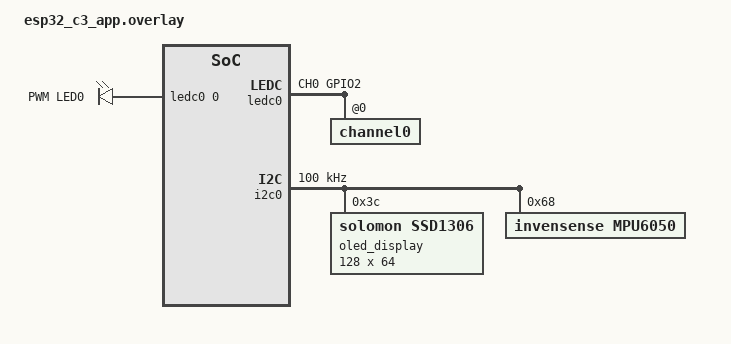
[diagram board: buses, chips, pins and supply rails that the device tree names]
#include <zephyr/dt-bindings/pwm/pwm.h>

&pinctrl {
    i2c0_custom: i2c0_custom {
        group1 {
            pinmux = <I2C0_SDA_GPIO8>,
                     <I2C0_SCL_GPIO9>;
            bias-pull-up;
            drive-open-drain;
            output-high;
        };
    };

	ledc0_default: ledc0-default {
		group1 {
			pinmux = <LEDC_CH0_GPIO2>;
			output-enable;
		};
	};
};

&ledc0 {
	pinctrl-0 = <&ledc0_default>;
	pinctrl-names = "default";
	status = "okay";
	#address-cells = <1>;
	#size-cells = <0>;

	channel0@0 {
		reg = <0x0>;
		timer = <0>;
	};
};

&i2c0 {
    status = "okay";
    pinctrl-0 = <&i2c0_custom>;
    pinctrl-names = "default";
    clock-frequency = <I2C_BITRATE_STANDARD>;

    oled_display: ssd1306@3c {
        compatible = "solomon,ssd1306";
        reg = <0x3c>;
        status = "okay";
        width = <128>;
        height = <64>;
        segment-offset = <0>;
        page-offset = <0>;
        display-offset = <0>;
        multiplex-ratio = <63>;
        segment-remap;
        com-invdir;
        prechargep = <0x22>;
        softreset-on;
        ready-time-ms = <100>;
    };

    mpu6050: mpu6050@68 {
        compatible = "invensense,mpu6050";
        reg = <0x68>;
        status = "okay";
        smplrt-div = <249>;
        /* optional if you use interrupt:
        int-gpios = <&gpio0 11 GPIO_ACTIVE_HIGH>;
        */
    };
};


/ {
    chosen {
        zephyr,display = &oled_display;
    };

    aliases {
		pwm-0 = &ledc0;
		pwm-led0 = &pwm_led_blue;
	};

	pwmleds {
		compatible = "pwm-leds";

		pwm_led_blue: pwm-led-gpio0-2 {
			label = "PWM LED0";
			pwms = <&ledc0 0 1000 PWM_POLARITY_NORMAL>;
		};
	};
};

